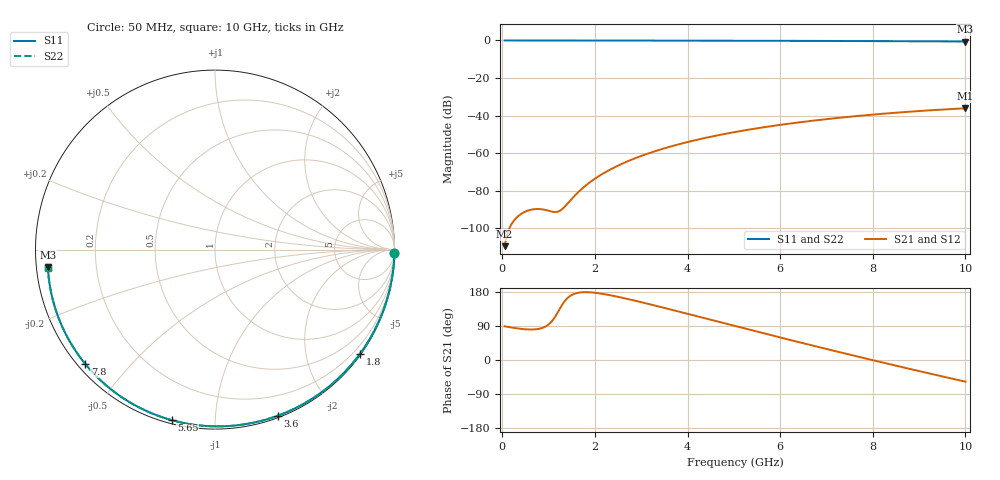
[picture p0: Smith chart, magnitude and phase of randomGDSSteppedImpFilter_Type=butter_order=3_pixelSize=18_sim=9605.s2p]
! freq	dB(S11)	phase(S11)	dB(S12)	phase(S12)
!  dB(S21)	phase(S21)	dB(S22)	phase(S22)
!S-par simulation data
#  GHz  S  DB  R 50
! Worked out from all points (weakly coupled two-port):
!   200 points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, 50 MHz to 10 GHz, reference 50 ohm
!   highest |S21| = -36.14 dB at 10 GHz (marker M1); lowest = -109.6 dB at 50 MHz (marker M2)
!   lowest |S11| = -0.6 dB at 10 GHz (marker M3), VSWR 30.53, Z = 1.64 - j2.64 ohm
!   |S11| at or under -10 dB: nowhere
!   |S22| runs from -0.6 to 0.0 dB; largest |S21 - S12| = 0
!   S11 on the Smith chart (normalised r, x): 50 MHz: open; 1.8 GHz: 0.03, -3.11; 3.6 GHz: 0.02, -1.45; 5.65 GHz: 0.02, -0.78; 7.8 GHz: 0.02, -0.38; 10 GHz: 0.03, -0.05
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0.05  -0.00 -1.0  -109.62 88.9  -109.62 88.9  -0.00 -1.0
0.8  -0.02 -16.1  -89.84 82.4  -89.84 82.4  -0.02 -16.1
1.2  -0.03 -24.0  -91.25 126.4  -91.25 126.4  -0.03 -24.0
1.65  -0.04 -32.8  -80.58 177.7  -80.58 177.7  -0.04 -32.8
1.7  -0.04 -33.8  -79.44 178.5  -79.44 178.5  -0.04 -33.7
1.75  -0.04 -34.7  -78.35 178.9  -78.35 178.9  -0.04 -34.7
1.8  -0.05 -35.7  -77.32 179.1  -77.32 179.1  -0.05 -35.7
1.95  -0.05 -38.6  -74.51 178.1  -74.51 178.1  -0.05 -38.6
2.1  -0.05 -41.5  -72.05 175.8  -72.05 175.8  -0.05 -41.4
2.45  -0.06 -48.1  -67.28 168.0  -67.28 168.0  -0.06 -48.1
2.9  -0.07 -56.5  -62.47 155.6  -62.47 155.6  -0.07 -56.5
3.4  -0.09 -65.7  -58.22 140.5  -58.22 140.5  -0.09 -65.6
3.6  -0.09 -69.3  -56.76 134.4  -56.76 134.4  -0.09 -69.2
4.3  -0.11 -81.6  -52.39 112.5  -52.39 112.5  -0.11 -81.6
5.05  -0.14 -94.4  -48.68 88.9  -48.68 88.9  -0.14 -94.3
5.65  -0.17 -104.3  -46.24 70.2  -46.24 70.2  -0.17 -104.3
6.15  -0.20 -112.4  -44.47 54.9  -44.47 54.9  -0.20 -112.4
6.7  -0.23 -121.2  -42.77 38.1  -42.77 38.1  -0.23 -121.2
7.8  -0.32 -138.5  -39.95 5.4  -39.95 5.4  -0.32 -138.5
8.35  -0.37 -147.2  -38.79 -10.6  -38.79 -10.6  -0.37 -147.1
9.2  -0.47 -160.8  -37.28 -34.9  -37.28 -34.9  -0.47 -160.7
10  -0.57 -173.9  -36.14 -57.2  -36.14 -57.2  -0.57 -173.9
